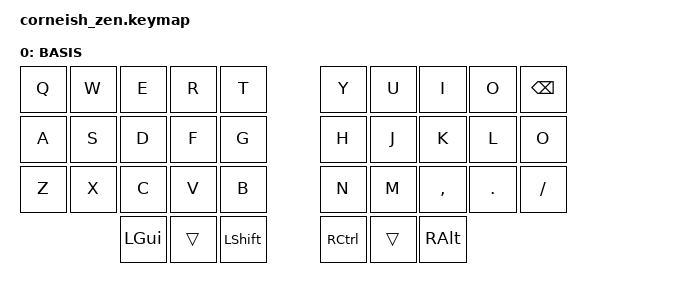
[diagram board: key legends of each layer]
#include <behaviors.dtsi>
#include <dt-bindings/zmk/keys.h>
#include <dt-bindings/zmk/bt.h>

/ {
    chosen {
        zmk,physical-layout = &foostan_corne_5col_layout;
    };
};

/ {
    keymap {
        compatible = "zmk,keymap";

        default_layer {
            display-name = "BASIS";
// --------------------------------------------------------------------------------
// |  Q  |  W  |  F  |  P  |  B  |   |  J  |  L   |  U  |  Y  | BSPC |
// |  A  |  R  |  S  |  T  |  G  |   |  M  |  N   |  E  |  I  |  O   |
// |  Z  |  X  |  C  |  D  |  V  |   |  K  |  H   |  ,  |  .  |  /   |
//             |  OS | SPC | SHFT|   | CTRL | RSE  | ALT |
            bindings = <
&kp Q &kp W &kp E &kp R  &kp T       &kp Y     &kp U  &kp I     &kp O   &kp BSPC
&kp A &kp S &kp D &kp F  &kp G       &kp H     &kp J  &kp K     &kp L   &kp O
&kp Z &kp X &kp C &kp V  &kp B       &kp N     &kp M  &kp COMMA &kp DOT &kp FSLH
         &kp LGUI &trans &kp LSHFT   &kp RCTRL &trans &kp RALT
            >;
        };

    };
};
